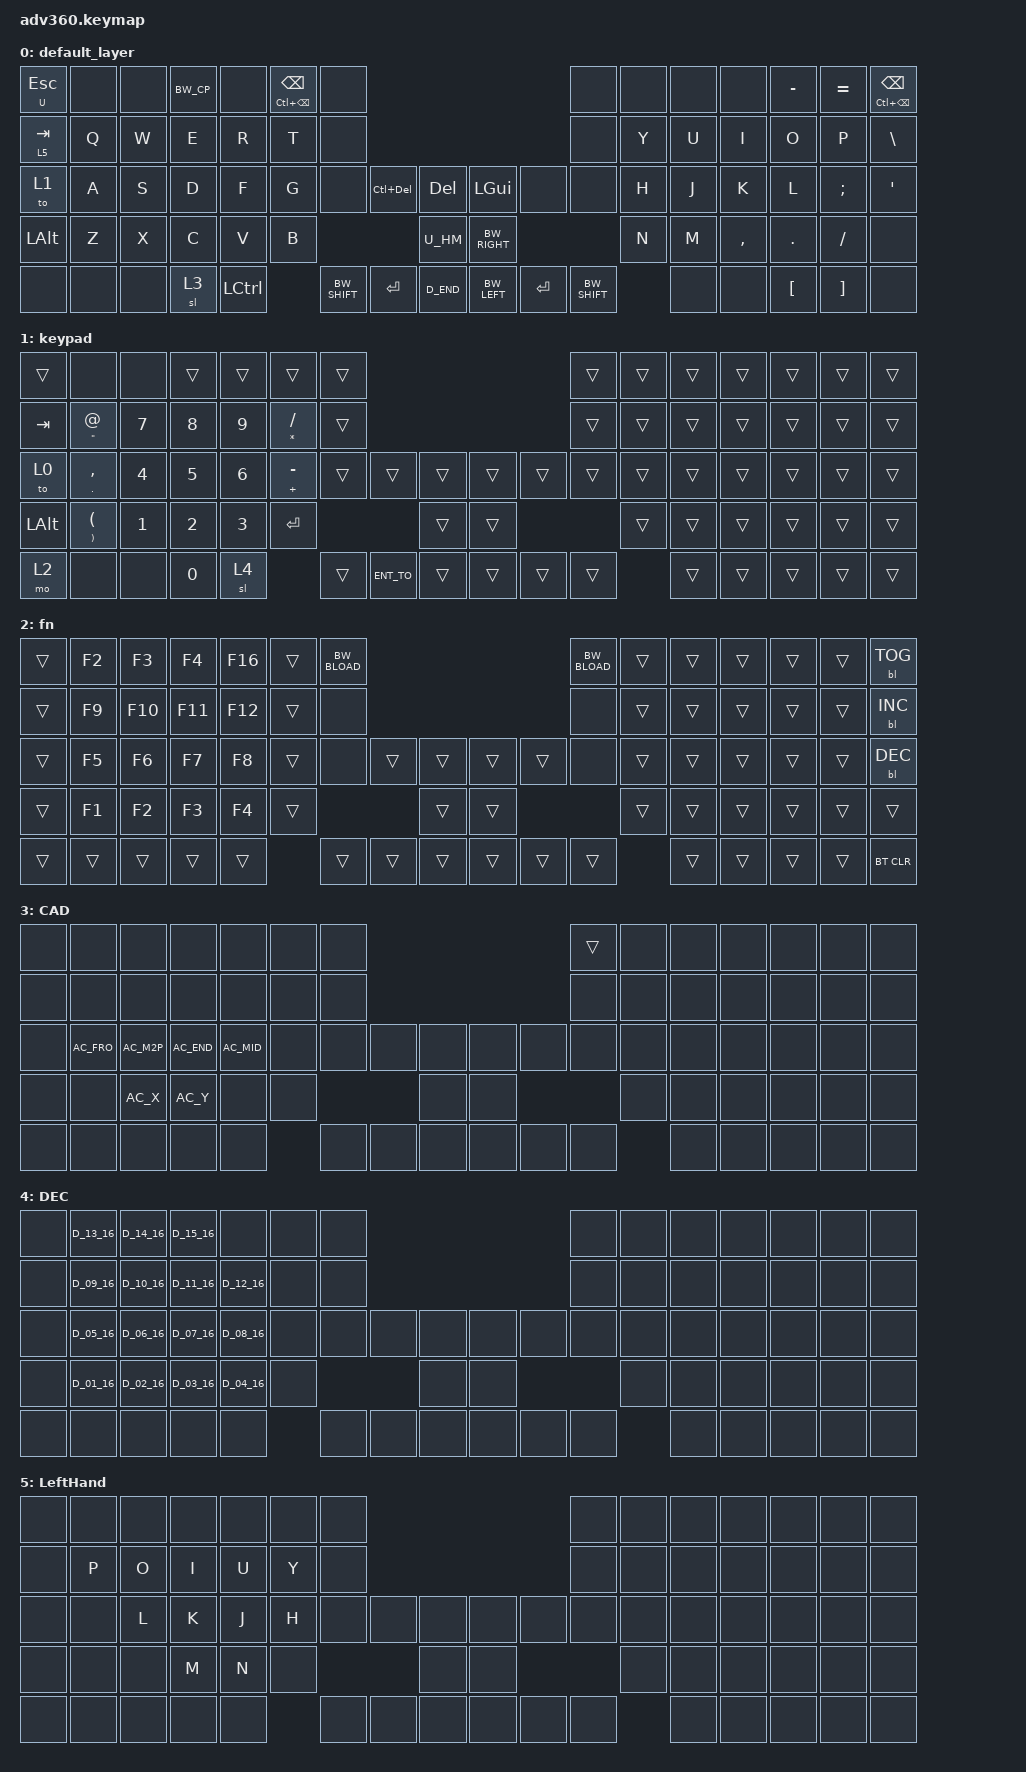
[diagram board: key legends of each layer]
#include <behaviors.dtsi>
#include <dt-bindings/zmk/backlight.h>
#include <dt-bindings/zmk/bt.h>
#include <dt-bindings/zmk/keys.h>

/ {
    behaviors {
        #include "macros.dtsi"
      #include "version.dtsi"
      #ifndef VERSION_MACRO

        AC_FRO: AC_FRO {
            compatible = "zmk,behavior-macro";
            #binding-cells = <0>;
            bindings = <&kp F &kp R &kp O &kp RET>;
            label = "AC_FRO";
        };

        AC_M2P: AC_M2P {
            compatible = "zmk,behavior-macro";
            #binding-cells = <0>;
            bindings = <&kp M &kp N2 &kp P &kp RET>;
            label = "AC_M2P";
        };

        AC_END: AC_END {
            compatible = "zmk,behavior-macro";
            #binding-cells = <0>;
            bindings = <&kp E &kp N &kp D &kp RET>;
            label = "AC_END";
        };

        AC_MID: AC_MID {
            compatible = "zmk,behavior-macro";
            #binding-cells = <0>;
            bindings = <&kp M &kp I &kp D &kp RET>;
            label = "AC_MID";
        };

        AC_X: AC_X {
            compatible = "zmk,behavior-macro";
            #binding-cells = <0>;
            bindings = <&kp DOT &kp X &kp RET>;
            label = "AC_X";
        };

        AC_Y: AC_Y {
            compatible = "zmk,behavior-macro";
            #binding-cells = <0>;
            bindings = <&kp DOT &kp Y &kp RET>;
            label = "AC_Y";
        };

        D_01_16: D_01_16 {
            compatible = "zmk,behavior-macro";
            #binding-cells = <0>;
            bindings = <&kp DOT &kp N0 &kp N6 &kp N2 &kp N5>;
            label = "D_01_16";
        };

        D_02_16: D_02_16 {
            compatible = "zmk,behavior-macro";
            #binding-cells = <0>;
            bindings = <&kp DOT &kp N1 &kp N2 &kp N5>;
            label = "D_02_16";
        };

        D_03_16: D_03_16 {
            compatible = "zmk,behavior-macro";
            #binding-cells = <0>;
            bindings = <&kp DOT &kp N1 &kp N8 &kp N7 &kp N5>;
            label = "D_03_16";
        };

        D_04_16: D_04_16 {
            compatible = "zmk,behavior-macro";
            #binding-cells = <0>;
            bindings = <&kp DOT &kp N2 &kp N5>;
            label = "D_04_16";
        };

        D_05_16: D_05_16 {
            compatible = "zmk,behavior-macro";
            #binding-cells = <0>;
            bindings = <&kp DOT &kp N3 &kp N1 &kp N2 &kp N5>;
            label = "D_05_16";
        };

        D_06_16: D_06_16 {
            compatible = "zmk,behavior-macro";
            #binding-cells = <0>;
            bindings = <&kp DOT &kp N3 &kp N7 &kp N5>;
            label = "D_06_16";
        };

        D_07_16: D_07_16 {
            compatible = "zmk,behavior-macro";
            #binding-cells = <0>;
            bindings = <&kp DOT &kp N4 &kp N3 &kp N7 &kp N5>;
            label = "D_07_16";
        };

        D_08_16: D_08_16 {
            compatible = "zmk,behavior-macro";
            #binding-cells = <0>;
            bindings = <&kp DOT &kp N5>;
            label = "D_08_16";
        };

        D_09_16: D_09_16 {
            compatible = "zmk,behavior-macro";
            #binding-cells = <0>;
            bindings = <&kp DOT &kp N5 &kp N6 &kp N2 &kp N5>;
            label = "D_09_16";
        };

        D_10_16: D_10_16 {
            compatible = "zmk,behavior-macro";
            #binding-cells = <0>;
            bindings = <&kp DOT &kp N6 &kp N2 &kp N5>;
            label = "D_10_16";
        };

        D_11_16: D_11_16 {
            compatible = "zmk,behavior-macro";
            #binding-cells = <0>;
            bindings = <&kp DOT &kp N6 &kp N8 &kp N7 &kp N5>;
            label = "D_11_16";
        };

        D_12_16: D_12_16 {
            compatible = "zmk,behavior-macro";
            #binding-cells = <0>;
            bindings = <&kp DOT &kp N7 &kp N5>;
            label = "D_12_16";
        };

        D_13_16: D_13_16 {
            compatible = "zmk,behavior-macro";
            #binding-cells = <0>;
            bindings = <&kp DOT &kp N8 &kp N1 &kp N2 &kp N5>;
            label = "D_13_16";
        };

        D_14_16: D_14_16 {
            compatible = "zmk,behavior-macro";
            #binding-cells = <0>;
            bindings = <&kp DOT &kp N8 &kp N7 &kp N5>;
            label = "D_14_16";
        };

        D_15_16: D_15_16 {
            compatible = "zmk,behavior-macro";
            #binding-cells = <0>;
            bindings = <&kp DOT &kp N9 &kp N3 &kp N7 &kp N5>;
            label = "D_15_16";
        };

        ENT_TO: ENT_TO {
            compatible = "zmk,behavior-macro";
            #binding-cells = <0>;
            bindings = <&kp RET &to 0>;
            label = "ENT_TO";
        };

        #endif

        hm: homerow_mods {
            compatible = "zmk,behavior-hold-tap";
            label = "HOMEROW_MODS";
            #binding-cells = <2>;
            tapping-term-ms = <200>;
            quick_tap_ms = <175>;
            flavor = "tap-preferred";
            bindings = <&kp>, <&kp>;
        };

        TH: TH {
            compatible = "zmk,behavior-hold-tap";
            label = "TH";
            bindings = <&kp>, <&kp>;

            #binding-cells = <2>;
            tapping-term-ms = <150>;
            flavor = "hold-preferred";
        };

        D_END: D_END {
            compatible = "zmk,behavior-tap-dance";
            label = "D_END";
            #binding-cells = <0>;
            bindings = <&kp DOWN>, <&kp END>;
        };

        U_HM: U_HM {
            compatible = "zmk,behavior-tap-dance";
            label = "U_HM";
            #binding-cells = <0>;
            bindings = <&kp UP>, <&kp HOME>;
        };

        BW_LEFT: BW_LEFT {
            compatible = "zmk,behavior-tap-dance";
            label = "BW_LEFT";
            #binding-cells = <0>;
            bindings = <&kp LEFT>, <&kp LG(LEFT)>;
        };

        BW_RIGHT: BW_RIGHT {
            compatible = "zmk,behavior-tap-dance";
            label = "BW_RIGHT";
            #binding-cells = <0>;
            bindings = <&kp RIGHT>, <&kp RG(RIGHT)>;
        };

        BW_BLOAD: BW_BLOAD {
            compatible = "zmk,behavior-tap-dance";
            label = "BW_BLOAD";
            #binding-cells = <0>;
            bindings = <&none>, <&bootloader>;
        };

        BW_CP: BW_CP {
            compatible = "zmk,behavior-tap-dance";
            label = "BW_CP";
            #binding-cells = <0>;
            bindings = <&TH LC(A) LC(C)>, <&TH LC(X) LC(V)>;
        };

        BW_SHIFT: BW_SHIFT {
            compatible = "zmk,behavior-tap-dance";
            label = "BW_SHIFT";
            #binding-cells = <0>;
            bindings = <&TH LSHIFT SPACE>, <&kp CAPS>, <&caps_word>;
        };

        BW_Tab_LH: BW_Tab_LH {
            compatible = "zmk,behavior-hold-tap";
            label = "BW_TAB_LH";
            bindings = <&mo>, <&kp>;

            #binding-cells = <2>;
            tapping-term-ms = <200>;
        };
    };

    macros {
    };

    keymap {
        compatible = "zmk,keymap";

        default_layer {
            bindings = <
&TH U ESCAPE      &none  &none  &BW_CP  &none      &TH LC(BSPC) BSPC  &none                                                      &none      &none  &none  &none      &kp MINUS  &kp EQUAL  &TH LC(BSPC) BSPC
&BW_Tab_LH 5 TAB  &kp Q  &kp W  &kp E   &kp R      &kp T              &none                                                      &none      &kp Y  &kp U  &kp I      &kp O      &kp P      &kp BSLH
&to 1             &kp A  &kp S  &kp D   &kp F      &kp G              &none      &kp LC(DEL)  &kp DEL      &kp LGUI   &none      &none      &kp H  &kp J  &kp K      &kp L      &kp SEMI   &kp SQT
&kp LALT          &kp Z  &kp X  &kp C   &kp V      &kp B                                      &U_HM        &BW_RIGHT                        &kp N  &kp M  &kp COMMA  &kp DOT    &kp FSLH   &none
&none             &none  &none  &sl 3   &kp LCTRL                     &BW_SHIFT  &kp RET      &D_END       &BW_LEFT   &kp ENTER  &BW_SHIFT         &none  &none      &kp LBKT   &kp RBKT   &none
            >;
        };

        keypad {
            bindings = <
&trans        &none          &none   &trans  &trans  &trans          &trans                                       &trans  &trans  &trans  &trans  &trans  &trans  &trans
&kp TAB       &TH DQT AT     &kp N7  &kp N8  &kp N9  &TH STAR FSLH   &trans                                       &trans  &trans  &trans  &trans  &trans  &trans  &trans
&to 0         &TH DOT COMMA  &kp N4  &kp N5  &kp N6  &TH PLUS MINUS  &trans  &trans   &trans      &trans  &trans  &trans  &trans  &trans  &trans  &trans  &trans  &trans
&kp LEFT_ALT  &TH RPAR LPAR  &kp N1  &kp N2  &kp N3  &kp RET                          &trans      &trans                  &trans  &trans  &trans  &trans  &trans  &trans
&mo 2         &none          &none   &kp N0  &sl 4                   &trans  &ENT_TO  &trans      &trans  &trans  &trans          &trans  &trans  &trans  &trans  &trans
            >;
        };

        fn {
            bindings = <
&trans  &kp F2  &kp F3   &kp F4   &kp F16  &trans  &BW_BLOAD                                      &BW_BLOAD  &trans  &trans  &trans  &trans  &trans  &bl BL_TOG
&trans  &kp F9  &kp F10  &kp F11  &kp F12  &trans  &none                                          &none      &trans  &trans  &trans  &trans  &trans  &bl BL_INC
&trans  &kp F5  &kp F6   &kp F7   &kp F8   &trans  &none      &trans  &trans      &trans  &trans  &none      &trans  &trans  &trans  &trans  &trans  &bl BL_DEC
&trans  &kp F1  &kp F2   &kp F3   &kp F4   &trans                     &trans      &trans                     &trans  &trans  &trans  &trans  &trans  &trans
&trans  &trans  &trans   &trans   &trans           &trans     &trans  &trans      &trans  &trans  &trans             &trans  &trans  &trans  &trans  &bt BT_CLR
            >;
        };

        CAD {
            bindings = <
&none  &none    &none    &none    &none    &none  &none                                  &trans  &none  &none  &none  &none  &none  &none
&none  &none    &none    &none    &none    &none  &none                                  &none   &none  &none  &none  &none  &none  &none
&none  &AC_FRO  &AC_M2P  &AC_END  &AC_MID  &none  &none  &none  &none      &none  &none  &none   &none  &none  &none  &none  &none  &none
&none  &none    &AC_X    &AC_Y    &none    &none                &none      &none                 &none  &none  &none  &none  &none  &none
&none  &none    &none    &none    &none           &none  &none  &none      &none  &none  &none          &none  &none  &none  &none  &none
            >;
        };

        DEC {
            bindings = <
&none  &D_13_16  &D_14_16  &D_15_16  &none     &none  &none                                  &none  &none  &none  &none  &none  &none  &none
&none  &D_09_16  &D_10_16  &D_11_16  &D_12_16  &none  &none                                  &none  &none  &none  &none  &none  &none  &none
&none  &D_05_16  &D_06_16  &D_07_16  &D_08_16  &none  &none  &none  &none      &none  &none  &none  &none  &none  &none  &none  &none  &none
&none  &D_01_16  &D_02_16  &D_03_16  &D_04_16  &none                &none      &none                &none  &none  &none  &none  &none  &none
&none  &none     &none     &none     &none            &none  &none  &none      &none  &none  &none         &none  &none  &none  &none  &none
            >;
        };

        LeftHand {
            bindings = <
&none  &none  &none  &none  &none  &none  &none                                  &none  &none  &none  &none  &none  &none  &none
&none  &kp P  &kp O  &kp I  &kp U  &kp Y  &none                                  &none  &none  &none  &none  &none  &none  &none
&none  &none  &kp L  &kp K  &kp J  &kp H  &none  &none  &none      &none  &none  &none  &none  &none  &none  &none  &none  &none
&none  &none  &none  &kp M  &kp N  &none                &none      &none                &none  &none  &none  &none  &none  &none
&none  &none  &none  &none  &none         &none  &none  &none      &none  &none  &none         &none  &none  &none  &none  &none
            >;
        };
    };
};
